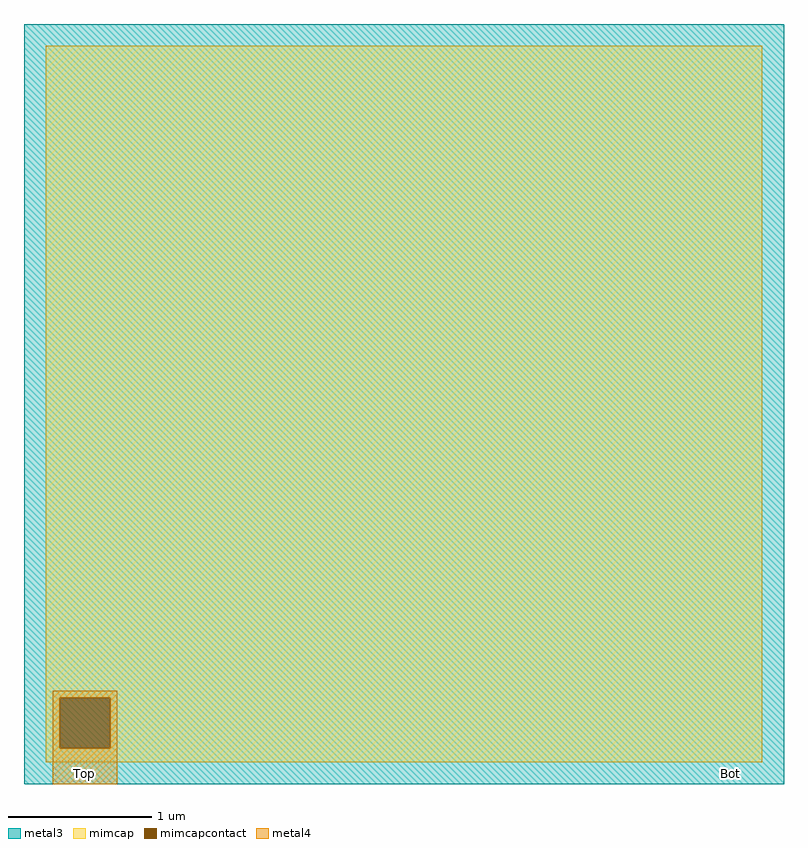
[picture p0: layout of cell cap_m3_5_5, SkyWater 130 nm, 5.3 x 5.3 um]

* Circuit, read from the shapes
.subckt cap_m3_5_5 Top Bot
XC1 Top Bot sky130_fd_pr__cap_mim_m3_1 w=5 l=5
.ends

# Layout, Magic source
magic
tech sky130A
<< metal3 >>
rect -15 -15 515 515
<< mimcap >>
rect 0 45 500 500
rect 0 10 10 45
rect 45 10 500 45
rect 0 0 500 10
<< mimcapcontact >>
rect 10 10 45 45
<< metal4 >>
rect 5 45 50 50
rect 5 10 10 45
rect 45 10 50 45
rect 5 -15 50 10
<< labels >>
rlabel metal4 5 -15 50 0 5 Top
port 1 s
rlabel metal3 455 -15 500 0 5 Bot
port 2 s
<< end >>
